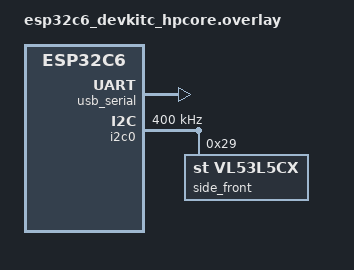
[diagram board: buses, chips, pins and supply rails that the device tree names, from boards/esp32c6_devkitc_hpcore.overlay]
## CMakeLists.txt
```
# SPDX-License-Identifier: Apache-2.0
cmake_minimum_required(VERSION 3.20.0)
find_package(Zephyr REQUIRED HINTS $ENV{ZEPHYR_BASE})
project(side_tof_bringup)
target_sources(app PRIVATE src/main.c)
```

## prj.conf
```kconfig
# riskybird side ToF bring-up: VL53L5CX (8x8) on I2C0, enabled via ADS7128 GPIO (raw I2C in main).
CONFIG_I2C=y
CONFIG_SENSOR=y
CONFIG_VL53L5CX=y
CONFIG_VL53L5CX_DEFAULT_RESOLUTION_8X8=y
# Driver LOG_ERR visibility during bring-up
CONFIG_LOG=y
CONFIG_LOG_MODE_MINIMAL=y
```

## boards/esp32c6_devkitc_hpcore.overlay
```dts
/*
 * SPDX-License-Identifier: Apache-2.0
 *
 * riskybird side ToF bring-up: front VL53L5CX (8x8) on I2C0 at 0x29 (default), enabled via the
 * ADS7128 GPIO2 XSHUT in application code (not a Zephyr gpio-controller). Console -> USB.
 */
/ {
	chosen {
		zephyr,console = &usb_serial;
		zephyr,shell-uart = &usb_serial;
	};
	aliases {
		side-front = &side_front;
	};
};

&usb_serial {
	status = "okay";
};

&pinctrl {
	i2c0_default: i2c0_default {
		group1 {
			pinmux = <I2C0_SDA_GPIO15>, <I2C0_SCL_GPIO14>;
			bias-pull-up;
			drive-open-drain;
			output-high;
		};
	};
};

&i2c0 {
	status = "okay";
	pinctrl-0 = <&i2c0_default>;
	pinctrl-names = "default";
	clock-frequency = <I2C_BITRATE_FAST>;

	/* FRONT side sensor (J2), enabled via ADS7128 GPIO2. Default VL53L5CX address 0x29. */
	side_front: vl53l5cx@29 {
		compatible = "st,vl53l5cx";
		reg = <0x29>;
	};
};
```

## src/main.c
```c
/*
 * Copyright (c) 2026 UC Berkeley
 * SPDX-License-Identifier: Apache-2.0
 *
 * riskybird v3 SIDE ToF bring-up (Phase 1: FRONT sensor only).
 *
 * The four side ToFs are external VL53L5CX (8x8) modules on connectors J2/J9/J10/J11, all sharing
 * I2C0 at default address 0x29 with the down VL53L1X, and enabled via the ADS7128 (0x17) GPIO XSHUT
 * lines. Verified wiring: front=J2=GPIO2, back=J9=GPIO1, left=J10=GPIO4, right=J11=GPIO3,
 * down=U9=GPIO6.
 *
 * This test powers ONLY the front sensor (GPIO2 high, all others held low) so it's alone at 0x29,
 * inits it as a VL53L5CX, and prints the CENTER-zone distance (the driver returns the center zone on
 * SENSOR_CHAN_DISTANCE, which conveniently ignores the PCB-occluded edge zones). Use it to (a) prove
 * the VL53L5CX path works and (b) WALL-VERIFY facing: put a wall in front -> distance should drop.
 */
#include <zephyr/kernel.h>
#include <zephyr/device.h>
#include <zephyr/drivers/sensor.h>
#include <zephyr/drivers/i2c.h>
#include <zephyr/drivers/sensor/vl53l5cx.h>
#include <zephyr/init.h>
#include <zephyr/sys/printk.h>

/* ADS7128 I2C GPIO expander (0x17) raw register access (mirrors the flight controller). */
#define ADS7128_I2C_ADDR      0x17
#define ADS7128_CMD_REG_WRITE 0x08
#define ADS7128_CMD_REG_READ  0x10
#define ADS7128_PIN_CFG       0x05
#define ADS7128_GPIO_CFG      0x07
#define ADS7128_GPO_DRIVE_CFG 0x09
#define ADS7128_GPO_VALUE     0x0B

#define FRONT_XSHUT_CH        2                 /* GPIO2 = front (J2) */
static const uint8_t HOLD_LOW_CH[] = { 1, 3, 4, 6 };   /* back(J9), right(J11), left(J10), down(U9) */

static int ads7128_rd(const struct device *bus, uint8_t reg, uint8_t *v)
{
	uint8_t tx[2] = { ADS7128_CMD_REG_READ, reg };
	int rc = i2c_write(bus, tx, sizeof(tx), ADS7128_I2C_ADDR);
	return rc ? rc : i2c_read(bus, v, 1, ADS7128_I2C_ADDR);
}
static int ads7128_wr(const struct device *bus, uint8_t reg, uint8_t v)
{
	uint8_t tx[3] = { ADS7128_CMD_REG_WRITE, reg, v };
	return i2c_write(bus, tx, sizeof(tx), ADS7128_I2C_ADDR);
}
static int ads7128_set_bit(const struct device *bus, uint8_t reg, uint8_t ch)
{
	uint8_t v; int rc = ads7128_rd(bus, reg, &v);
	return rc ? rc : ads7128_wr(bus, reg, (uint8_t)(v | (1U << ch)));
}
static int ads7128_clr_bit(const struct device *bus, uint8_t reg, uint8_t ch)
{
	uint8_t v; int rc = ads7128_rd(bus, reg, &v);
	return rc ? rc : ads7128_wr(bus, reg, (uint8_t)(v & ~(1U << ch)));
}
static void ads7128_gpio_output(const struct device *bus, uint8_t ch)
{
	ads7128_set_bit(bus, ADS7128_PIN_CFG, ch);       /* GPIO mode */
	ads7128_set_bit(bus, ADS7128_GPIO_CFG, ch);      /* output */
	ads7128_set_bit(bus, ADS7128_GPO_DRIVE_CFG, ch); /* push-pull */
}

/* Enable ONLY the front sensor before the VL53L5CX driver inits (prio 90). */
static int side_tof_power(void)
{
	const struct device *bus = DEVICE_DT_GET(DT_NODELABEL(i2c0));
	if (!device_is_ready(bus)) {
		printk("side_tof: I2C0 not ready\n");
		return 0;
	}
	/* Hold every other sensor in reset (XSHUT low). */
	for (size_t i = 0; i < ARRAY_SIZE(HOLD_LOW_CH); i++) {
		ads7128_gpio_output(bus, HOLD_LOW_CH[i]);
		ads7128_clr_bit(bus, ADS7128_GPO_VALUE, HOLD_LOW_CH[i]);
	}
	/* Power-cycle the front sensor's XSHUT low->high for a clean boot. */
	ads7128_gpio_output(bus, FRONT_XSHUT_CH);
	ads7128_clr_bit(bus, ADS7128_GPO_VALUE, FRONT_XSHUT_CH);
	k_msleep(10);
	ads7128_set_bit(bus, ADS7128_GPO_VALUE, FRONT_XSHUT_CH);
	k_msleep(10);
	printk("side_tof: front (J2/GPIO2) powered, others held in reset\n");
	return 0;
}
SYS_INIT(side_tof_power, POST_KERNEL, 80);   /* before CONFIG_SENSOR_INIT_PRIORITY (90) */

int main(void)
{
	const struct device *front = DEVICE_DT_GET(DT_ALIAS(side_front));

	k_msleep(300);
	if (!device_is_ready(front)) {
		printk("side_tof: FRONT device not ready\n");
		return -1;
	}
	/* VL53L5CX defers init (uploads ~84 KB firmware) -- run it now that the sensor is powered. */
	int rc = vl53l5cx_reinit(front);
	printk("side_tof: vl53l5cx_reinit rc=%d (%s)\n", rc,
	       rc == 0 ? "front ranging (8x8)" : "init FAILED");
	if (rc != 0) {
		return -1;
	}

	printk("side_tof: reading FRONT center-zone distance -- wave a wall in front to verify facing\n");
	for (int i = 0;; i++) {
		if (sensor_sample_fetch(front) != 0) {
			printk("side_tof: fetch error\n");
			k_msleep(100);
			continue;
		}
		struct sensor_value d;
		sensor_channel_get(front, SENSOR_CHAN_DISTANCE, &d);
		/* The VL53L5CX driver returns the center-zone distance in mm directly in val1. */
		printk("side_tof: FRONT center = %d mm\n", d.val1);
		k_msleep(100);   /* ~10 Hz print */
	}
	return 0;
}
```
